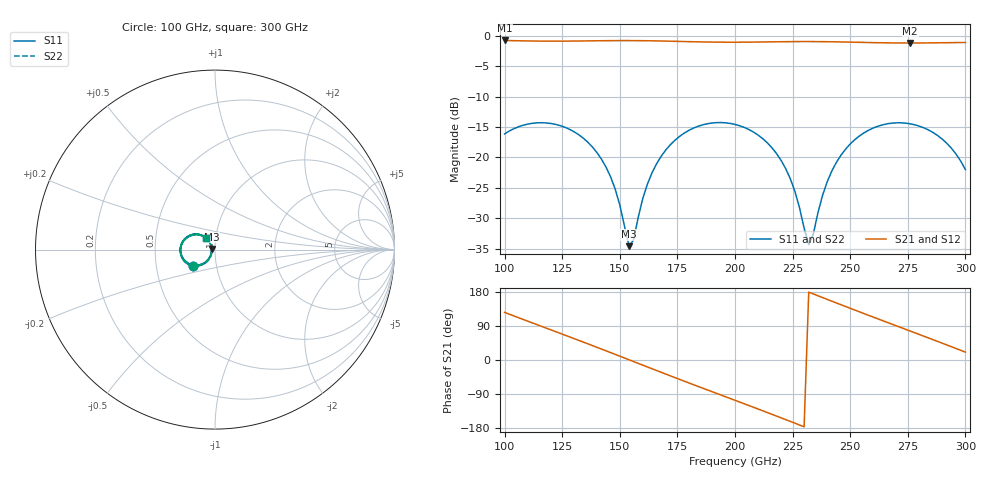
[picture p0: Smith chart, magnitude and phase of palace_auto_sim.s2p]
#  GHZ S DB R 50
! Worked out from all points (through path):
!   101 points, 100 GHz to 300 GHz, reference 50 ohm
!   highest |S21| = -0.78 dB at 100 GHz (marker M1); lowest = -1.2 dB at 276 GHz (marker M2)
!   group delay of S21, straight-line fit = 6.47 ps
!   lowest |S11| = -34.6 dB at 154 GHz (marker M3), VSWR 1.04, Z = 48.2 + j0.37 ohm
!   |S11| at or under -10 dB: start of sweep to end of sweep
!   |S22| runs from -35.0 to -14.3 dB; largest |S21 - S12| = 1.5e-13
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100  -16.13 -143.2  -0.78 125.6  -0.78 125.6  -16.13 -143.1
116  -14.30 -177.0  -0.89 88.9  -0.89 88.9  -14.30 -177.0
134  -16.79 145.8  -0.86 47.6  -0.86 47.6  -16.79 145.6
146  -23.19 126.7  -0.81 19.5  -0.81 19.5  -23.21 126.2
150  -27.82 128.8  -0.80 10.1  -0.80 10.1  -27.90 127.9
154  -34.58 168.1  -0.80 0.6  -0.80 0.6  -35.00 167.6
156  -33.52 -149.8  -0.81 -4.2  -0.81 -4.2  -33.85 -148.2
162  -24.36 -122.1  -0.83 -18.4  -0.83 -18.4  -24.40 -121.1
168  -19.79 -128.5  -0.87 -32.6  -0.87 -32.6  -19.80 -127.8
184  -14.88 -159.5  -1.01 -69.8  -1.01 -69.8  -14.88 -159.0
200  -14.57 167.3  -1.07 -106.3  -1.07 -106.3  -14.57 167.7
218  -19.35 132.5  -1.00 -147.9  -1.00 -147.9  -19.34 132.9
226  -25.58 125.8  -0.97 -166.7  -0.97 -166.7  -25.58 126.1
232  -34.30 174.6  -0.96 179.0  -0.96 179.0  -34.29 174.8
234  -32.56 -148.1  -0.97 174.3  -0.97 174.3  -32.57 -147.9
240  -24.01 -124.9  -0.99 160.0  -0.99 160.0  -24.01 -124.6
246  -19.63 -131.2  -1.02 145.9  -1.02 145.9  -19.63 -130.9
258  -15.53 -153.4  -1.12 117.9  -1.12 117.9  -15.53 -153.2
268  -14.37 -173.8  -1.18 94.8  -1.18 94.8  -14.37 -173.5
276  -14.47 169.9  -1.20 76.5  -1.20 76.5  -14.47 170.1
290  -17.01 142.3  -1.16 44.3  -1.16 44.3  -17.02 142.4
300  -21.99 127.4  -1.11 20.8  -1.11 20.8  -22.02 127.1
